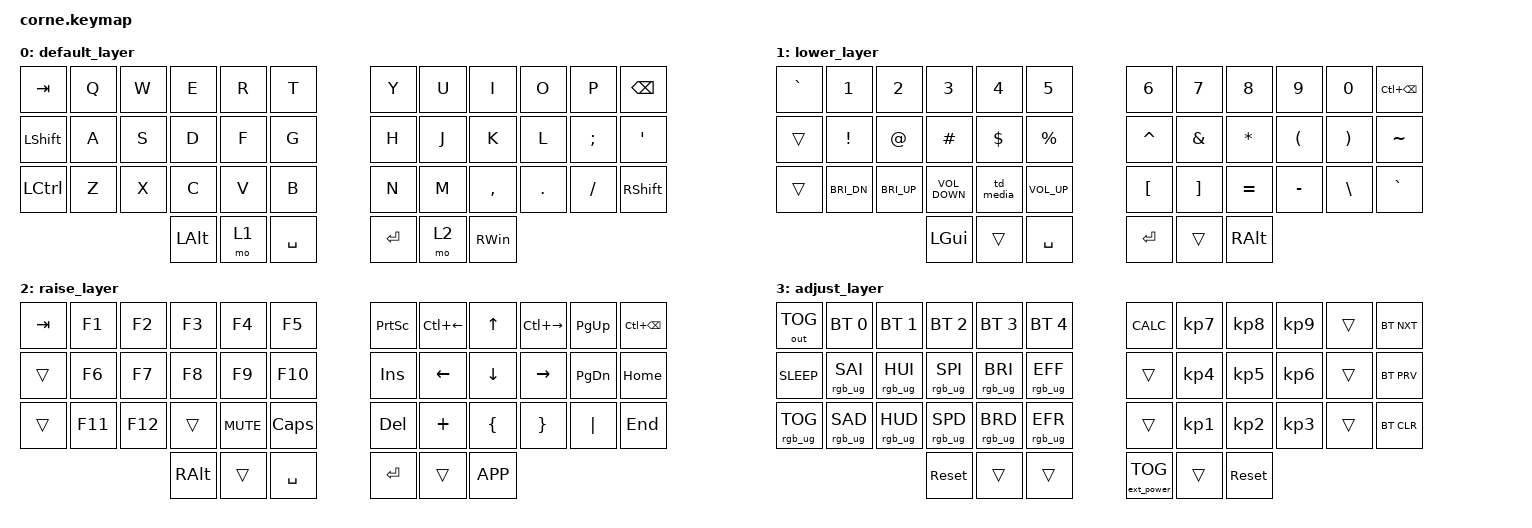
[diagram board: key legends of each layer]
/*
 * Copyright (c) 2020 The ZMK Contributors
 *
 * SPDX-License-Identifier: MIT
 */

#include <behaviors.dtsi>
#include <dt-bindings/zmk/bt.h>
#include <dt-bindings/zmk/ext_power.h>
#include <dt-bindings/zmk/keys.h>
#include <dt-bindings/zmk/outputs.h>
#include <dt-bindings/zmk/rgb.h>

/ {
    conditional_layers {
        compatible = "zmk,conditional-layers";

        tri_layer {
            if-layers = <1 2>;
            then-layer = <3>;
        };
    };

    combos {
        compatible = "zmk,combos";

        TabQ_ESC {
            bindings = <&kp ESC>;
            key-positions = <0 1>;
        };
    };

    behaviors {
        td_media: tap_dance_media {
            compatible = "zmk,behavior-tap-dance";
            label = "TD_MEDIA";
            #binding-cells = <0>;
            bindings = <&kp C_PLAY_PAUSE>, <&kp C_NEXT>, <&kp C_PREVIOUS>;
        };
    };

    macros {
        // Windows sleep key
        win_sleep: win_sleep {
            wait-ms = <50>;
            tap-ms = <5>;
            compatible = "zmk,behavior-macro";
            label = "WIN_SLEEP_KEY";
            #binding-cells = <0>;
            bindings = <&kp LG(X) &kp U &kp S>;
        };
    };

    keymap {
        compatible = "zmk,keymap";

        default_layer {
            // -----------------------------------------------------------------------------------------
            // |  TAB |  Q  |  W  |  E  |  R  |  T  |   |  Y  |  U   |  I  |  O  |  P  | BKSP |
            // | CTRL |  A  |  S  |  D  |  F  |  G  |   |  H  |  J   |  K  |  L  |  ;  |  '   |
            // | SHFT |  Z  |  X  |  C  |  V  |  B  |   |  N  |  M   |  ,  |  .  |  /  | ESC  |
            //                    | GUI | LWR | SPC |   | ENT | RSE  | ALT |

            bindings = <
&kp TAB    &kp Q  &kp W  &kp E     &kp R  &kp T        &kp Y    &kp U  &kp I      &kp O    &kp P     &kp BSPC
&kp LSHFT  &kp A  &kp S  &kp D     &kp F  &kp G        &kp H    &kp J  &kp K      &kp L    &kp SEMI  &kp SQT
&kp LCTRL  &kp Z  &kp X  &kp C     &kp V  &kp B        &kp N    &kp M  &kp COMMA  &kp DOT  &kp FSLH  &kp RSHFT
                         &kp LALT  &mo 1  &kp SPACE    &kp RET  &mo 2  &kp RWIN
            >;
        };

        lower_layer {
            // -----------------------------------------------------------------------------------------
            // |  TAB |  1  |  2  |  3  |  4  |  5  |   |  6  |  7  |  8  |  9  |  0  | BKSP |
            // | BTCLR| BT1 | BT2 | BT3 | BT4 | BT5 |   | LFT | DWN |  UP | RGT |     |      |
            // | SHFT |     |     |     |     |     |   |     |     |     |     |     |      |
            //                    | GUI |     | SPC |   | ENT |     | ALT |

            bindings = <
&kp GRAVE  &kp N1        &kp N2        &kp N3             &kp N4      &kp N5          &kp N6            &kp N7             &kp N8     &kp N9                &kp N0                 &kp LC(BSPC)
&trans     &kp EXCL      &kp AT        &kp HASH           &kp DOLLAR  &kp PERCENT     &kp CARET         &kp AMPS           &kp STAR   &kp LEFT_PARENTHESIS  &kp RIGHT_PARENTHESIS  &kp TILDE
&trans     &kp C_BRI_DN  &kp C_BRI_UP  &kp C_VOLUME_DOWN  &td_media   &kp C_VOL_UP    &kp LEFT_BRACKET  &kp RIGHT_BRACKET  &kp EQUAL  &kp MINUS             &kp BACKSLASH          &kp GRAVE
                                       &kp LGUI           &trans      &kp SPACE       &kp RET           &trans             &kp RALT
            >;
        };

        raise_layer {
            // -----------------------------------------------------------------------------------------
            // |  TAB |  !  |  @  |  #  |  $  |  %  |   |  ^  |  &  |  *  |  (  |  )  | BKSP |
            // | CTRL |     |     |     |     |     |   |  -  |  =  |  [  |  ]  |  \  |  `   |
            // | SHFT |     |     |     |     |     |   |  _  |  +  |  {  |  }  | "|" |  ~   |
            //                    | GUI |     | SPC |   | ENT |     | ALT |

            bindings = <
&kp TAB  &kp F1   &kp F2   &kp F3    &kp F4      &kp F5       &kp PRINTSCREEN  &kp LC(LEFT)  &kp UP     &kp LC(RIGHT)  &kp PG_UP  &kp LC(BSPC)
&trans   &kp F6   &kp F7   &kp F8    &kp F9      &kp F10      &kp INS          &kp LEFT      &kp DOWN   &kp RIGHT      &kp PG_DN  &kp HOME
&trans   &kp F11  &kp F12  &trans    &kp C_MUTE  &kp CAPS     &kp DEL          &kp PLUS      &kp LBRC   &kp RBRC       &kp PIPE   &kp END
                           &kp RALT  &trans      &kp SPACE    &kp RET          &trans        &kp K_APP
            >;
        };

        adjust_layer {
            bindings = <
&out OUT_TOG     &bt BT_SEL 0     &bt BT_SEL 1     &bt BT_SEL 2     &bt BT_SEL 3     &bt BT_SEL 4       &kp K_CALC         &kp KP_NUMBER_7  &kp KP_NUMBER_8  &kp KP_NUMBER_9  &trans  &bt BT_NXT
&kp K_SLEEP      &rgb_ug RGB_SAI  &rgb_ug RGB_HUI  &rgb_ug RGB_SPI  &rgb_ug RGB_BRI  &rgb_ug RGB_EFF    &trans             &kp KP_NUMBER_4  &kp KP_NUMBER_5  &kp KP_NUMBER_6  &trans  &bt BT_PRV
&rgb_ug RGB_TOG  &rgb_ug RGB_SAD  &rgb_ug RGB_HUD  &rgb_ug RGB_SPD  &rgb_ug RGB_BRD  &rgb_ug RGB_EFR    &trans             &kp KP_NUMBER_1  &kp KP_NUMBER_2  &kp KP_NUMBER_3  &trans  &bt BT_CLR
                                                   &sys_reset       &trans           &trans             &ext_power EP_TOG  &trans           &sys_reset
            >;
        };
    };
};
